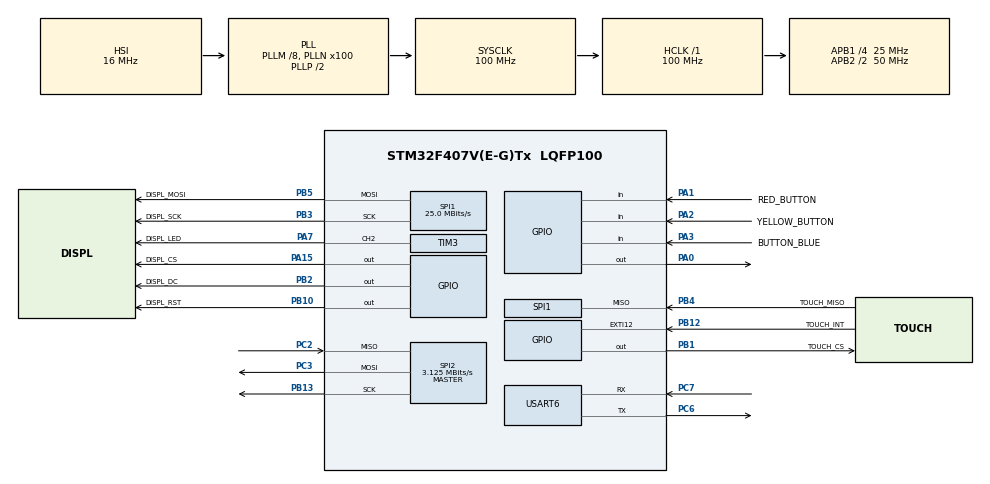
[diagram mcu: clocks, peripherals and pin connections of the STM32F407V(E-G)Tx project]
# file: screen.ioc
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Dma.Request0=SPI1_TX
Dma.SPI1_TX.0.Direction=DMA_MEMORY_TO_PERIPH
Dma.SPI1_TX.0.FIFOMode=DMA_FIFOMODE_DISABLE
Dma.SPI1_TX.0.Instance=DMA2_Stream3
Dma.SPI1_TX.0.MemDataAlignment=DMA_MDATAALIGN_BYTE
Dma.SPI1_TX.0.MemInc=DMA_MINC_ENABLE
Dma.SPI1_TX.0.Mode=DMA_NORMAL
Dma.SPI1_TX.0.PeriphDataAlignment=DMA_PDATAALIGN_BYTE
Dma.SPI1_TX.0.PeriphInc=DMA_PINC_DISABLE
Dma.SPI1_TX.0.Priority=DMA_PRIORITY_LOW
FATFS._MAX_SS=4096
FATFS._USE_LFN=1
Mcu.Family=STM32F4
Mcu.Name=STM32F407V(E-G)Tx
Mcu.Package=LQFP100
NVIC.DMA2_Stream3_IRQn=true\:0\:0\:false\:false\:true\:false\:true\:true
NVIC.EXTI15_10_IRQn=true\:0\:0\:false\:false\:true\:true\:true\:true
NVIC.PriorityGroup=NVIC_PRIORITYGROUP_4
NVIC.SPI1_IRQn=true\:0\:0\:false\:false\:true\:true\:true\:true
PA0-WKUP.Signal=GPIO_Output
PA1.GPIO_Label=RED_BUTTON
PA1.GPIO_PuPd=GPIO_PULLDOWN
PA1.Signal=GPIO_Input
PA13.Mode=Serial_Wire
PA13.Signal=SYS_JTMS-SWDIO
PA14.Mode=Serial_Wire
PA14.Signal=SYS_JTCK-SWCLK
PA15.GPIO_Label=DISPL_CS
PA15.GPIO_Speed=GPIO_SPEED_FREQ_HIGH
PA15.PinState=GPIO_PIN_SET
PA15.Signal=GPIO_Output
PA2.GPIO_Label=YELLOW_BUTTON
PA2.GPIO_PuPd=GPIO_PULLDOWN
PA2.Signal=GPIO_Input
PA3.GPIO_Label=BUTTON_BLUE
PA3.GPIO_PuPd=GPIO_PULLDOWN
PA3.Signal=GPIO_Input
PA7.GPIO_Label=DISPL_LED
PA7.Signal=S_TIM3_CH2
PB1.GPIO_Label=TOUCH_CS
PB1.GPIO_Speed=GPIO_SPEED_FREQ_HIGH
PB1.PinState=GPIO_PIN_SET
PB1.Signal=GPIO_Output
PB10.GPIO_Label=DISPL_RST
PB10.Signal=GPIO_Output
PB12.GPIO_Label=TOUCH_INT
PB12.GPIO_ModeDefaultEXTI=GPIO_MODE_IT_FALLING
PB12.GPIO_PuPd=GPIO_PULLUP
PB12.Signal=GPXTI12
PB13.Mode=Full_Duplex_Master
PB13.Signal=SPI2_SCK
PB2.GPIO_Label=DISPL_DC
PB2.GPIO_Speed=GPIO_SPEED_FREQ_HIGH
PB2.Signal=GPIO_Output
PB3.GPIO_Label=DISPL_SCK
PB3.Mode=Full_Duplex_Master
PB3.Signal=SPI1_SCK
PB4.GPIO_Label=TOUCH_MISO
PB4.Mode=Full_Duplex_Master
PB4.Signal=SPI1_MISO
PB5.GPIO_Label=DISPL_MOSI
PB5.Mode=Full_Duplex_Master
PB5.Signal=SPI1_MOSI
PC14-OSC32_IN.Mode=LSE-External-Oscillator
PC14-OSC32_IN.Signal=RCC_OSC32_IN
PC15-OSC32_OUT.Mode=LSE-External-Oscillator
PC15-OSC32_OUT.Signal=RCC_OSC32_OUT
PC2.Mode=Full_Duplex_Master
PC2.Signal=SPI2_MISO
PC3.Mode=Full_Duplex_Master
PC3.Signal=SPI2_MOSI
PC6.Mode=Asynchronous
PC6.Signal=USART6_TX
PC7.Mode=Asynchronous
PC7.Signal=USART6_RX
PH0-OSC_IN.Mode=HSE-External-Oscillator
PH0-OSC_IN.Signal=RCC_OSC_IN
PH1-OSC_OUT.Mode=HSE-External-Oscillator
PH1-OSC_OUT.Signal=RCC_OSC_OUT
ProjectManager.HeapSize=0x200
ProjectManager.StackSize=0x400
ProjectManager.TargetToolchain=STM32CubeIDE
RCC.48MHZClocksFreq_Value=50000000
RCC.AHBFreq_Value=100000000
RCC.APB1CLKDivider=RCC_HCLK_DIV4
RCC.APB1Freq_Value=25000000
RCC.APB1TimFreq_Value=50000000
RCC.APB2CLKDivider=RCC_HCLK_DIV2
RCC.APB2Freq_Value=50000000
RCC.APB2TimFreq_Value=100000000
RCC.CortexFreq_Value=100000000
RCC.HCLKFreq_Value=100000000
RCC.HSE_VALUE=25000000
RCC.HSI_VALUE=16000000
RCC.PLLM=8
RCC.PLLN=100
RCC.SYSCLKFreq_VALUE=100000000
RCC.SYSCLKSource=RCC_SYSCLKSOURCE_PLLCLK
RCC.VCOOutputFreq_Value=200000000
RTC.Date=5
RTC.Format=RTC_FORMAT_BCD
RTC.Hours=23
RTC.Minutes=59
RTC.Month=RTC_MONTH_JULY
RTC.Seconds=45
RTC.StoreOperation=RTC_STOREOPERATION_RESET
RTC.WeekDay=RTC_WEEKDAY_WEDNESDAY
RTC.Year=23
SH.S_TIM3_CH2.0=TIM3_CH2,PWM Generation2 CH2
SPI1.BaudRatePrescaler=SPI_BAUDRATEPRESCALER_2
SPI1.CalculateBaudRate=25.0 MBits/s
SPI1.DataSize=SPI_DATASIZE_8BIT
SPI1.Direction=SPI_DIRECTION_2LINES
SPI1.Mode=SPI_MODE_MASTER
SPI1.VirtualType=VM_MASTER
SPI2.BaudRatePrescaler=SPI_BAUDRATEPRESCALER_8
SPI2.CalculateBaudRate=3.125 MBits/s
SPI2.DataSize=SPI_DATASIZE_8BIT
SPI2.Direction=SPI_DIRECTION_2LINES
SPI2.Mode=SPI_MODE_MASTER
SPI2.VirtualType=VM_MASTER
STMicroelectronics.X-CUBE-TOUCHGFX.4.21.4.ApplicationCcGraphicsJjApplication=TouchGFXOoGenerator
STMicroelectronics.X-CUBE-TOUCHGFX.4.21.4.tgfx_buffering_strategy=Partial
STMicroelectronics.X-CUBE-TOUCHGFX.4.21.4.tgfx_custom_height=480
STMicroelectronics.X-CUBE-TOUCHGFX.4.21.4.tgfx_custom_width=320
STMicroelectronics.X-CUBE-TOUCHGFX.4.21.4_IsPackSelfContextualization=true
TIM3.Channel-PWM\ Generation2\ CH2=TIM_CHANNEL_2
TIM3.Period=100
TIM3.Prescaler=10000
USART6.VirtualMode=VM_ASYNC
VP_CRC_VS_CRC.Mode=CRC_Activate
VP_FATFS_VS_Generic.Mode=User_defined
VP_RTC_VS_RTC_Activate.Mode=RTC_Enabled
VP_RTC_VS_RTC_WakeUp_intern.Mode=WakeUp
VP_STMicroelectronics.X-CUBE-TOUCHGFX_VS_GraphicsJjApplication_4.21.4.Mode=GraphicsJjApplication
board=custom

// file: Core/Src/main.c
/* USER CODE BEGIN Header */
/**
  ******************************************************************************
  * @file           : main.c
  * @brief          : Main program body
  ******************************************************************************
  * @attention
  *
  * Copyright (c) 2023 STMicroelectronics.
  * All rights reserved.
  *
  * This software is licensed under terms that can be found in the LICENSE file
  * in the root directory of this software component.
  * If no LICENSE file comes with this software, it is provided AS-IS.
  *
  ******************************************************************************
  */
/* USER CODE END Header */
#include "main.h"
#include "fatfs.h"
#include "app_touchgfx.h"

/* USER CODE BEGIN Includes */
#include <string.h>
#include <stdio.h>

/* USER CODE END Includes */

/* USER CODE BEGIN PD */
FATFS fs;
FIL fil;
FATFS *pfs;
DWORD fre_clust;
uint32_t totalSpace, freeSpace;
char buffer[700];
char lignes[30][100];  // Tableau de tampons pour stocker chaque ligne du fichier "date_et_heure"
char lignesExtraits[30][14];

/* USER CODE END PD */

CRC_HandleTypeDef hcrc;

RTC_HandleTypeDef hrtc;

SPI_HandleTypeDef hspi1;
SPI_HandleTypeDef hspi2;
DMA_HandleTypeDef hdma_spi1_tx;

TIM_HandleTypeDef htim3;

UART_HandleTypeDef huart6;

/* USER CODE BEGIN PV */
RTC_TimeTypeDef RTC_Time;
RTC_DateTypeDef RTC_Date;

/* USER CODE END PV */

void SystemClock_Config(void);
static void MX_GPIO_Init(void);
static void MX_DMA_Init(void);
static void MX_SPI1_Init(void);
static void MX_CRC_Init(void);
static void MX_TIM3_Init(void);
static void MX_RTC_Init(void);
static void MX_SPI2_Init(void);
static void MX_USART6_UART_Init(void);

/* USER CODE BEGIN 0 */
extern uint16_t counterValue ;
extern uint16_t counterValue;
FRESULT fresult;
char etoile[100];
UINT br, bw;
int i=0;
void SaveCounterValue(uint16_t value)
{
	i++;
	if (i % 3 == 0) {
    f_mount(&fs, "", 0);
    f_open(&fil, "date_et_heure.txt", FA_OPEN_ALWAYS | FA_WRITE | FA_READ | FA_OPEN_APPEND);
    f_printf(&fil, "%02d/%02d/%02d N=%u\n",
             RTC_Date.Date, RTC_Date.Month, RTC_Date.Year, value);
    f_close(&fil);
	} else {
		f_mount(&fs, "", 0);
		    f_open(&fil, "date_et_heure.txt", FA_OPEN_ALWAYS | FA_WRITE | FA_READ | FA_OPEN_APPEND);
		    f_printf(&fil, "%02d/%02d/%02d N=%u    ",
		             RTC_Date.Date, RTC_Date.Month, RTC_Date.Year, value);
		    f_close(&fil);

	}

}

void CopyFileToBuffer(const char* sourceFile, char* buffer, int bufferSize)
{
  FIL sourceFil;

  // Montez le système de fichiers
  f_mount(&fs, "", 0);

  // Ouvrez le fichier source en mode lecture seule
  if (f_open(&sourceFil, sourceFile, FA_OPEN_EXISTING | FA_READ) != FR_OK) {
    // Erreur lors de l'ouverture du fichier source
    return;
  }

  // Copiez le contenu du fichier source dans le buffer
  int bytesRead = f_read(&sourceFil, buffer, bufferSize - 1, NULL);
  if (bytesRead > 0) {
    // Ajoutez le caractère de fin de chaîne
    buffer[bytesRead] = '\0';
  }

  // Fermez le fichier
  f_close(&sourceFil);
}
void CopyBufferToFile(const char* destinationFile, const char* buffer)
{
  FIL destinationFil;

  // Montez le système de fichiers
  f_mount(&fs, "", 0);

  // Ouvrez le fichier de destination en mode écriture
  if (f_open(&destinationFil, destinationFile, FA_OPEN_ALWAYS | FA_WRITE) != FR_OK) {
    // Erreur lors de l'ouverture du fichier de destination
    return;
  }

  // Écrivez le contenu du buffer dans le fichier de destination
  f_printf(&destinationFil, "%s", buffer);

  // Fermez le fichier
  f_close(&destinationFil);
}

/* USER CODE END 0 */

int main(void)
{

  /* MCU Configuration--------------------------------------------------------*/

  /* Reset of all peripherals, Initializes the Flash interface and the Systick. */
  HAL_Init();

  /* Configure the system clock */
  SystemClock_Config();

  /* Initialize all configured peripherals */
  MX_GPIO_Init();
  MX_DMA_Init();
  MX_SPI1_Init();
  MX_CRC_Init();
  MX_TIM3_Init();
  MX_RTC_Init();
  MX_SPI2_Init();
  MX_FATFS_Init();
  MX_USART6_UART_Init();
  MX_TouchGFX_Init();
  /* USER CODE BEGIN 2 */

  Displ_Init(Displ_Orientat_0);			// (mandatory) initialize display controller - set orientation parameter as per TouchGFX setup
  touchgfxSignalVSync();					// ask display syncronization
  Displ_BackLight('I');  					// (mandatory) initialize backlight
  HAL_Delay(100);
  f_mount(&fs, "", 0);
  f_open(&fil, "ABCD.txt", FA_OPEN_ALWAYS | FA_WRITE);
  f_lseek(&fil, fil.fptr);
  f_printf(&fil, "ligne :%s\n", buffer);
  f_close(&fil);

  /* USER CODE END 2 */

  /* Infinite loop */
  /* USER CODE BEGIN WHILE */
  while (1)
  {

	  //char data[] = "Bonjour"; // Chaine de caractères à transmettre

	  HAL_RTC_GetTime(&hrtc, &RTC_Time, RTC_FORMAT_BIN);

	          // Vérifier si l'heure est 00:00:00
	  if ((RTC_Time.Hours == 0 && RTC_Time.Minutes == 0 && RTC_Time.Seconds == 0))
	          {
	              // Enregistrer la valeur actuelle du compteur
	              SaveCounterValue(counterValue);
	              HAL_Delay(1000);
	              CopyFileToBuffer("date_et_heure.txt", buffer, sizeof(buffer));
	              HAL_UART_Transmit(&huart6,(uint8_t *)buffer, strlen(buffer), 100);
	              //memset(buffer, 0, sizeof(buffer));
	              //CopyBufferToFile("ABCD.txt", buffer);

	          }

	  //if (Touch_GotATouch(0))

  touchgfxSignalVSync();
    /* USER CODE END WHILE */

  MX_TouchGFX_Process();
  }
}

void SystemClock_Config(void)
{
  RCC_OscInitTypeDef RCC_OscInitStruct = {0};
  RCC_ClkInitTypeDef RCC_ClkInitStruct = {0};

  /** Configure the main internal regulator output voltage
  */
  __HAL_RCC_PWR_CLK_ENABLE();
  __HAL_PWR_VOLTAGESCALING_CONFIG(PWR_REGULATOR_VOLTAGE_SCALE1);

  /** Initializes the RCC Oscillators according to the specified parameters
  * in the RCC_OscInitTypeDef structure.
  */
  RCC_OscInitStruct.OscillatorType = RCC_OSCILLATORTYPE_HSI|RCC_OSCILLATORTYPE_LSI;
  RCC_OscInitStruct.HSIState = RCC_HSI_ON;
  RCC_OscInitStruct.HSICalibrationValue = RCC_HSICALIBRATION_DEFAULT;
  RCC_OscInitStruct.LSIState = RCC_LSI_ON;
  RCC_OscInitStruct.PLL.PLLState = RCC_PLL_ON;
  RCC_OscInitStruct.PLL.PLLSource = RCC_PLLSOURCE_HSI;
  RCC_OscInitStruct.PLL.PLLM = 8;
  RCC_OscInitStruct.PLL.PLLN = 100;
  RCC_OscInitStruct.PLL.PLLP = RCC_PLLP_DIV2;
  RCC_OscInitStruct.PLL.PLLQ = 4;
  if (HAL_RCC_OscConfig(&RCC_OscInitStruct) != HAL_OK)
  {
    Error_Handler();
  }

  /** Initializes the CPU, AHB and APB buses clocks
  */
  RCC_ClkInitStruct.ClockType = RCC_CLOCKTYPE_HCLK|RCC_CLOCKTYPE_SYSCLK
                              |RCC_CLOCKTYPE_PCLK1|RCC_CLOCKTYPE_PCLK2;
  RCC_ClkInitStruct.SYSCLKSource = RCC_SYSCLKSOURCE_PLLCLK;
  RCC_ClkInitStruct.AHBCLKDivider = RCC_SYSCLK_DIV1;
  RCC_ClkInitStruct.APB1CLKDivider = RCC_HCLK_DIV4;
  RCC_ClkInitStruct.APB2CLKDivider = RCC_HCLK_DIV2;

  if (HAL_RCC_ClockConfig(&RCC_ClkInitStruct, FLASH_LATENCY_3) != HAL_OK)
  {
    Error_Handler();
  }
}

static void MX_CRC_Init(void)
{

  hcrc.Instance = CRC;
  if (HAL_CRC_Init(&hcrc) != HAL_OK)
  {
    Error_Handler();
  }

}

static void MX_RTC_Init(void)
{

  RTC_TimeTypeDef sTime = {0};
  RTC_DateTypeDef sDate = {0};

  /** Initialize RTC Only
  */
  hrtc.Instance = RTC;
  hrtc.Init.HourFormat = RTC_HOURFORMAT_24;
  hrtc.Init.AsynchPrediv = 127;
  hrtc.Init.SynchPrediv = 255;
  hrtc.Init.OutPut = RTC_OUTPUT_DISABLE;
  hrtc.Init.OutPutPolarity = RTC_OUTPUT_POLARITY_HIGH;
  hrtc.Init.OutPutType = RTC_OUTPUT_TYPE_OPENDRAIN;
  if (HAL_RTC_Init(&hrtc) != HAL_OK)
  {
    Error_Handler();
  }

  /** Initialize RTC and set the Time and Date
  */
  sTime.Hours = 0x23;
  sTime.Minutes = 0x59;
  sTime.Seconds = 0x45;
  sTime.DayLightSaving = RTC_DAYLIGHTSAVING_NONE;
  sTime.StoreOperation = RTC_STOREOPERATION_RESET;
  if (HAL_RTC_SetTime(&hrtc, &sTime, RTC_FORMAT_BCD) != HAL_OK)
  {
    Error_Handler();
  }
  sDate.WeekDay = RTC_WEEKDAY_WEDNESDAY;
  sDate.Month = RTC_MONTH_JULY;
  sDate.Date = 0x5;
  sDate.Year = 0x23;

  if (HAL_RTC_SetDate(&hrtc, &sDate, RTC_FORMAT_BCD) != HAL_OK)
  {
    Error_Handler();
  }

  /** Enable the WakeUp
  */
  if (HAL_RTCEx_SetWakeUpTimer(&hrtc, 0, RTC_WAKEUPCLOCK_RTCCLK_DIV16) != HAL_OK)
  {
    Error_Handler();
  }
  /* USER CODE BEGIN RTC_Init 2 */
RTC_Time.Hours = 0x21;
RTC_Time.Minutes = 0x00;
RTC_Time.Seconds = 0x00;
RTC_Time.DayLightSaving = RTC_DAYLIGHTSAVING_NONE;
RTC_Time.StoreOperation = RTC_STOREOPERATION_RESET;

//RTC_Time.StoreOperation = RTC_STOREOPERATION_RESET;
if (HAL_RTC_SetTime(&hrtc, &RTC_Time, RTC_FORMAT_BCD) != HAL_OK)
{
	Error_Handler();
}
RTC_Date.Month = 0x08;
RTC_Date.Date = 0x25;
RTC_Date.Year = 0x23;
if (HAL_RTC_SetDate(&hrtc, &RTC_Date, RTC_FORMAT_BCD) != HAL_OK)
{
	Error_Handler();
}
  /* USER CODE END RTC_Init 2 */

}

static void MX_SPI1_Init(void)
{

  /* SPI1 parameter configuration*/
  hspi1.Instance = SPI1;
  hspi1.Init.Mode = SPI_MODE_MASTER;
  hspi1.Init.Direction = SPI_DIRECTION_2LINES;
  hspi1.Init.DataSize = SPI_DATASIZE_8BIT;
  hspi1.Init.CLKPolarity = SPI_POLARITY_LOW;
  hspi1.Init.CLKPhase = SPI_PHASE_1EDGE;
  hspi1.Init.NSS = SPI_NSS_SOFT;
  hspi1.Init.BaudRatePrescaler = SPI_BAUDRATEPRESCALER_2;
  hspi1.Init.FirstBit = SPI_FIRSTBIT_MSB;
  hspi1.Init.TIMode = SPI_TIMODE_DISABLE;
  hspi1.Init.CRCCalculation = SPI_CRCCALCULATION_DISABLE;
  hspi1.Init.CRCPolynomial = 10;
  if (HAL_SPI_Init(&hspi1) != HAL_OK)
  {
    Error_Handler();
  }

}

static void MX_SPI2_Init(void)
{

  /* SPI2 parameter configuration*/
  hspi2.Instance = SPI2;
  hspi2.Init.Mode = SPI_MODE_MASTER;
  hspi2.Init.Direction = SPI_DIRECTION_2LINES;
  hspi2.Init.DataSize = SPI_DATASIZE_8BIT;
  hspi2.Init.CLKPolarity = SPI_POLARITY_LOW;
  hspi2.Init.CLKPhase = SPI_PHASE_1EDGE;
  hspi2.Init.NSS = SPI_NSS_SOFT;
  hspi2.Init.BaudRatePrescaler = SPI_BAUDRATEPRESCALER_8;
  hspi2.Init.FirstBit = SPI_FIRSTBIT_MSB;
  hspi2.Init.TIMode = SPI_TIMODE_DISABLE;
  hspi2.Init.CRCCalculation = SPI_CRCCALCULATION_DISABLE;
  hspi2.Init.CRCPolynomial = 10;
  if (HAL_SPI_Init(&hspi2) != HAL_OK)
  {
    Error_Handler();
  }

}

static void MX_TIM3_Init(void)
{

  TIM_MasterConfigTypeDef sMasterConfig = {0};
  TIM_OC_InitTypeDef sConfigOC = {0};

  htim3.Instance = TIM3;
  htim3.Init.Prescaler = 10000;
  htim3.Init.CounterMode = TIM_COUNTERMODE_UP;
  htim3.Init.Period = 100;
  htim3.Init.ClockDivision = TIM_CLOCKDIVISION_DIV1;
  htim3.Init.AutoReloadPreload = TIM_AUTORELOAD_PRELOAD_DISABLE;
  if (HAL_TIM_PWM_Init(&htim3) != HAL_OK)
  {
    Error_Handler();
  }
  sMasterConfig.MasterOutputTrigger = TIM_TRGO_RESET;
  sMasterConfig.MasterSlaveMode = TIM_MASTERSLAVEMODE_DISABLE;
  if (HAL_TIMEx_MasterConfigSynchronization(&htim3, &sMasterConfig) != HAL_OK)
  {
    Error_Handler();
  }
  sConfigOC.OCMode = TIM_OCMODE_PWM1;
  sConfigOC.Pulse = 0;
  sConfigOC.OCPolarity = TIM_OCPOLARITY_HIGH;
  sConfigOC.OCFastMode = TIM_OCFAST_DISABLE;
  if (HAL_TIM_PWM_ConfigChannel(&htim3, &sConfigOC, TIM_CHANNEL_2) != HAL_OK)
  {
    Error_Handler();
  }
  HAL_TIM_MspPostInit(&htim3);

}

static void MX_USART6_UART_Init(void)
{

  huart6.Instance = USART6;
  huart6.Init.BaudRate = 115200;
  huart6.Init.WordLength = UART_WORDLENGTH_8B;
  huart6.Init.StopBits = UART_STOPBITS_1;
  huart6.Init.Parity = UART_PARITY_NONE;
  huart6.Init.Mode = UART_MODE_TX_RX;
  huart6.Init.HwFlowCtl = UART_HWCONTROL_NONE;
  huart6.Init.OverSampling = UART_OVERSAMPLING_16;
  if (HAL_UART_Init(&huart6) != HAL_OK)
  {
    Error_Handler();
  }

}

static void MX_DMA_Init(void)
{

  /* DMA controller clock enable */
  __HAL_RCC_DMA2_CLK_ENABLE();

  /* DMA interrupt init */
  /* DMA2_Stream3_IRQn interrupt configuration */
  HAL_NVIC_SetPriority(DMA2_Stream3_IRQn, 0, 0);
  HAL_NVIC_EnableIRQ(DMA2_Stream3_IRQn);

}

static void MX_GPIO_Init(void)
{
  GPIO_InitTypeDef GPIO_InitStruct = {0};

  /* GPIO Ports Clock Enable */
  __HAL_RCC_GPIOC_CLK_ENABLE();
  __HAL_RCC_GPIOH_CLK_ENABLE();
  __HAL_RCC_GPIOA_CLK_ENABLE();
  __HAL_RCC_GPIOB_CLK_ENABLE();

  /*Configure GPIO pin Output Level */
  HAL_GPIO_WritePin(GPIOA, GPIO_PIN_0, GPIO_PIN_RESET);

  /*Configure GPIO pin Output Level */
  HAL_GPIO_WritePin(TOUCH_CS_GPIO_Port, TOUCH_CS_Pin, GPIO_PIN_SET);

  /*Configure GPIO pin Output Level */
  HAL_GPIO_WritePin(GPIOB, DISPL_DC_Pin|DISPL_RST_Pin, GPIO_PIN_RESET);

  /*Configure GPIO pin Output Level */
  HAL_GPIO_WritePin(DISPL_CS_GPIO_Port, DISPL_CS_Pin, GPIO_PIN_SET);

  /*Configure GPIO pin : PA0 */
  GPIO_InitStruct.Pin = GPIO_PIN_0;
  GPIO_InitStruct.Mode = GPIO_MODE_OUTPUT_PP;
  GPIO_InitStruct.Pull = GPIO_NOPULL;
  GPIO_InitStruct.Speed = GPIO_SPEED_FREQ_LOW;
  HAL_GPIO_Init(GPIOA, &GPIO_InitStruct);

  /*Configure GPIO pins : RED_BUTTON_Pin YELLOW_BUTTON_Pin BUTTON_BLUE_Pin */
  GPIO_InitStruct.Pin = RED_BUTTON_Pin|YELLOW_BUTTON_Pin|BUTTON_BLUE_Pin;
  GPIO_InitStruct.Mode = GPIO_MODE_INPUT;
  GPIO_InitStruct.Pull = GPIO_PULLDOWN;
  HAL_GPIO_Init(GPIOA, &GPIO_InitStruct);

  /*Configure GPIO pins : TOUCH_CS_Pin DISPL_DC_Pin */
  GPIO_InitStruct.Pin = TOUCH_CS_Pin|DISPL_DC_Pin;
  GPIO_InitStruct.Mode = GPIO_MODE_OUTPUT_PP;
  GPIO_InitStruct.Pull = GPIO_NOPULL;
  GPIO_InitStruct.Speed = GPIO_SPEED_FREQ_HIGH;
  HAL_GPIO_Init(GPIOB, &GPIO_InitStruct);

  /*Configure GPIO pin : DISPL_RST_Pin */
  GPIO_InitStruct.Pin = DISPL_RST_Pin;
  GPIO_InitStruct.Mode = GPIO_MODE_OUTPUT_PP;
  GPIO_InitStruct.Pull = GPIO_NOPULL;
  GPIO_InitStruct.Speed = GPIO_SPEED_FREQ_LOW;
  HAL_GPIO_Init(DISPL_RST_GPIO_Port, &GPIO_InitStruct);

  /*Configure GPIO pin : TOUCH_INT_Pin */
  GPIO_InitStruct.Pin = TOUCH_INT_Pin;
  GPIO_InitStruct.Mode = GPIO_MODE_IT_FALLING;
  GPIO_InitStruct.Pull = GPIO_PULLUP;
  HAL_GPIO_Init(TOUCH_INT_GPIO_Port, &GPIO_InitStruct);

  /*Configure GPIO pin : DISPL_CS_Pin */
  GPIO_InitStruct.Pin = DISPL_CS_Pin;
  GPIO_InitStruct.Mode = GPIO_MODE_OUTPUT_PP;
  GPIO_InitStruct.Pull = GPIO_NOPULL;
  GPIO_InitStruct.Speed = GPIO_SPEED_FREQ_HIGH;
  HAL_GPIO_Init(DISPL_CS_GPIO_Port, &GPIO_InitStruct);

  /* EXTI interrupt init*/
  HAL_NVIC_SetPriority(EXTI15_10_IRQn, 0, 0);
  HAL_NVIC_EnableIRQ(EXTI15_10_IRQn);

}

void Error_Handler(void)
{
  __disable_irq();
  while (1)
  {
  }
}
